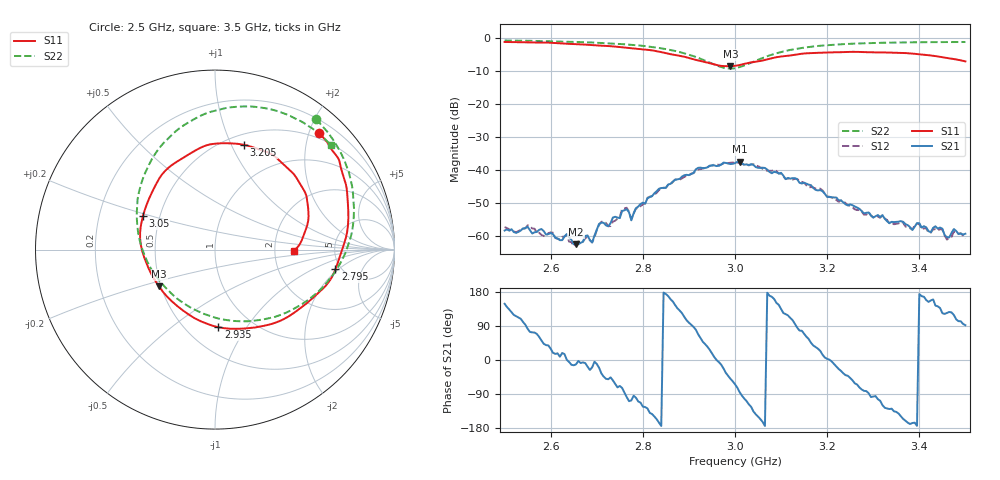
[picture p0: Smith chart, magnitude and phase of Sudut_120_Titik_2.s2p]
# Hz S RI R 50
! CMT, C1220, 16058040, 17.2.0/1
! Date: 15/08/2018 10:49:31
! Data: Format (Calibration Info)
! Freq  S11: Re/Im (F2)  S21: Re/Im (F2)  S12: Re/Im (F2)  S22: Re/Im (F2)
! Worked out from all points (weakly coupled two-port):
!   201 points, 2.5 GHz to 3.5 GHz, reference 50 ohm
!   highest |S21| = -37.52 dB at 3.01 GHz (marker M1); lowest = -62.6 dB at 2.655 GHz (marker M2)
!   lowest |S11| = -8.6 dB at 2.99 GHz (marker M3), VSWR 2.19, Z = 24.4 - j11.7 ohm
!   |S11| at or under -10 dB: nowhere
!   |S22| runs from -9.2 to -0.7 dB; largest |S21 - S12| = 0.00087
!   S11 on the Smith chart (normalised r, x): 2.5 GHz: 0.40, +2.18; 2.795 GHz: 4.47, -1.82; 2.935 GHz: 0.71, -0.75; 3.05 GHz: 0.40, +0.19; 3.205 GHz: 0.61, +1.12; 3.5 GHz: 2.59, -0.04
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2.5e9  0.5811 0.6492  -0.00103 0.000634  -0.00116 0.00072  0.563 0.7258
2.58e9  0.6804 0.5179  0.000793 0.000994  0.00067 0.000792  0.6517 0.6215
2.62e9  0.7069 0.4354  0.000852 0.00013  0.000862 0.000199  0.6925 0.5544
2.635e9  0.7226 0.3854  0.00107 8.47e-06  0.00103 -8.81e-05  0.7068 0.5274
2.655e9  0.7337 0.34  0.000728 -0.000147  0.000741 -9.33e-05  0.7245 0.4874
2.67e9  0.7367 0.3091  0.000812 -8.97e-05  0.0008 -0.000175  0.737 0.4545
2.69e9  0.7411 0.2448  0.00075 -0.000263  0.000772 -0.000206  0.7512 0.4091
2.705e9  0.743 0.1991  0.00143 -0.00053  0.0014 -0.000476  0.7604 0.37
2.73e9  0.7406 0.1312  0.00109 -0.00112  0.000932 -0.00106  0.7697 0.3042
2.755e9  0.7217 0.0406  0.000669 -0.00229  0.000828 -0.00244  0.7744 0.2304
2.775e9  0.6995 -0.0269  -0.000497 -0.00165  -0.000516 -0.00174  0.7718 0.1639
2.795e9  0.671 -0.1097  -0.00117 -0.00282  -0.00113 -0.00258  0.7619 0.0931
2.835e9  0.5721 -0.2449  -0.00502 -0.00132  -0.00476 -0.00141  0.704 -0.0655
2.935e9  0.0182 -0.4323  0.00794 0.0072  0.00766 0.00752  0.2228 -0.3954
2.99e9  -0.3117 -0.2055  0.00799 -0.00932  0.00855 -0.00963  -0.2127 -0.2719
3e9  -0.3518 -0.1423  0.00558 -0.0114  0.00501 -0.0118  -0.2772 -0.21
3.01e9  -0.3825 -0.074  0.00122 -0.0132  0.00122 -0.0126  -0.3335 -0.1416
3.05e9  -0.4019 0.1853  -0.00926 -0.0055  -0.01 -0.00549  -0.4355 0.1715
3.17e9  0.0286 0.5922  0.00419 0.0033  0.00398 0.00365  -0.0922 0.7393
3.205e9  0.1622 0.5832  0.00389 5.7e-05  0.00392 -0.000221  0.0356 0.7829
3.335e9  0.4666 0.3789  -0.000988 -0.0012  -0.00102 -0.00118  0.3915 0.756
3.5e9  0.4424 -0.00594  -3.56e-05 0.00108  2.73e-05 0.000911  0.6436 0.5848
